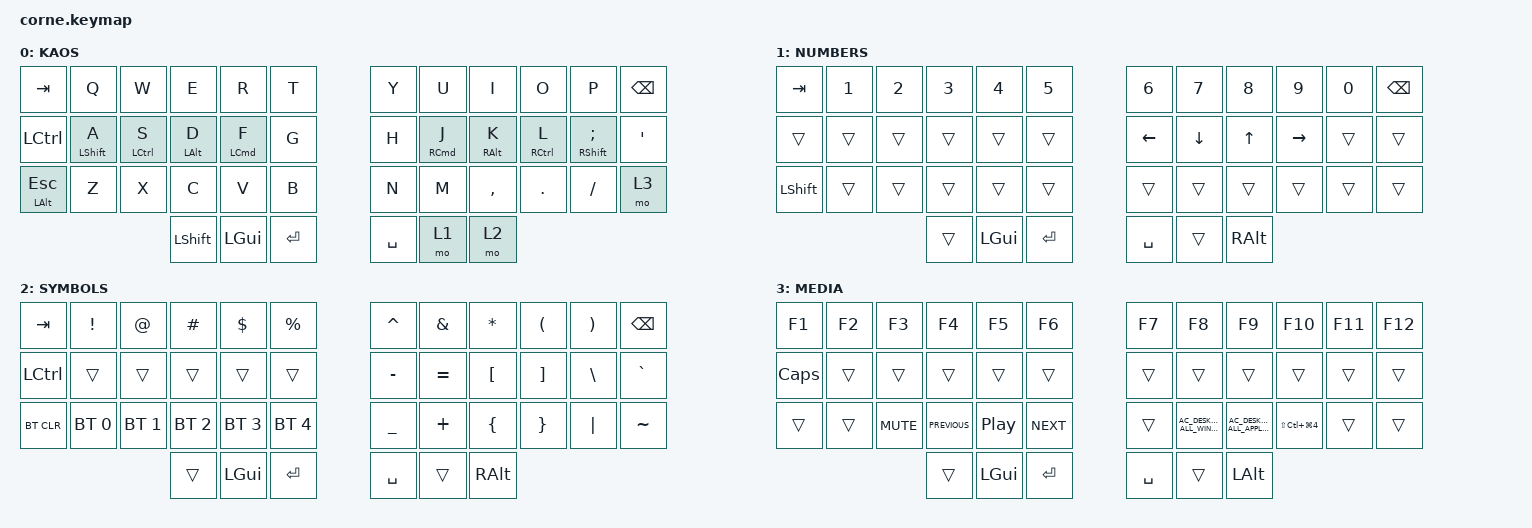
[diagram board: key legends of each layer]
/*
 * Copyright (c) 2020 The ZMK Contributors
 *
 * SPDX-License-Identifier: MIT
 */

#include <behaviors.dtsi>
#include <dt-bindings/zmk/bt.h>
#include <dt-bindings/zmk/keys.h>

/ {
    behaviors {
        hmr: hmr {
            compatible = "zmk,behavior-hold-tap";
            label = "HMR";
            bindings = <&kp>, <&kp>;

            #binding-cells = <2>;
            tapping-term-ms = <280>;
            quick-tap-ms = <175>;
            flavor = "balanced";
            hold-trigger-on-release;
            hold-trigger-key-positions = <0 1 2 3 4 5 17 38 37 29 36 28 16 15 27 26 14 13 24 12 25 39 40 41>;
        };

        hml: hml {
            compatible = "zmk,behavior-hold-tap";
            label = "HML";
            bindings = <&kp>, <&kp>;

            #binding-cells = <2>;
            tapping-term-ms = <280>;
            quick-tap-ms = <175>;
            require-prior-idle-ms = <50>;
            flavor = "balanced";
            hold-trigger-on-release;
            hold-trigger-key-positions = <6 7 8 9 10 11 18 19 20 21 22 23 30 31 32 33 34 35 39 40 41 36 37 38>;
        };
    };

    combos {
        compatible = "zmk,combos";

        left-brace {
            bindings = <&kp LEFT_BRACE>;
            key-positions = <1 2>;
            layers = <0>;
        };

        right-brace {
            bindings = <&kp RIGHT_BRACE>;
            key-positions = <9 10>;
            layers = <0>;
        };

        left-bracket {
            bindings = <&kp LEFT_BRACKET>;
            key-positions = <3 2>;
            layers = <0>;
        };

        right-bracket {
            bindings = <&kp RIGHT_BRACKET>;
            key-positions = <9 8>;
            layers = <0>;
        };

        left-parens {
            bindings = <&kp LEFT_PARENTHESIS>;
            key-positions = <3 4>;
            layers = <0>;
        };

        right-parens {
            bindings = <&kp RIGHT_PARENTHESIS>;
            key-positions = <7 8>;
            layers = <0>;
        };

        underscore {
            bindings = <&kp UNDERSCORE>;
            key-positions = <26 27>;
            layers = <0>;
        };

        minus {
            bindings = <&kp MINUS>;
            key-positions = <28 27>;
            layers = <0>;
        };

        plus {
            bindings = <&kp PLUS>;
            key-positions = <31 32>;
            layers = <0>;
        };

        equal {
            bindings = <&kp EQUAL>;
            key-positions = <33 32>;
            layers = <0>;
        };

        lt {
            bindings = <&kp LT>;
            key-positions = <25 26>;
        };

        gt {
            bindings = <&kp GT>;
            key-positions = <34 33>;
        };
    };

    keymap {
        compatible = "zmk,keymap";

        kaos {
            // -----------------------------------------------------------------------------------------
            // |  TAB |  Q  |  W  |  E  |  R  |  T  |   |  Y  |  U   |  I  |  O  |  P  | BKSP |
            // | CTRL |  A  |  S  |  D  |  F  |  G  |   |  H  |  J   |  K  |  L  |  ;  |  '   |
            // | SHFT |  Z  |  X  |  C  |  V  |  B  |   |  N  |  M   |  ,  |  .  |  /  | ESC  |
            //                    | GUI | LWR | SPC |   | ENT | RSE  | ALT |

            bindings = <
&kp TAB               &kp Q              &kp W         &kp E            &kp R        &kp T        &kp Y      &kp U        &kp I             &kp O         &kp P                  &kp BSPC
&kp LCTRL             &hmr LEFT_SHIFT A  &hmr LCTRL S  &hmr LEFT_ALT D  &hmr LCMD F  &kp G        &kp H      &hml RCMD J  &hml RIGHT_ALT K  &hml RCTRL L  &hml RIGHT_SHIFT SEMI  &kp SQT
&hmr LEFT_ALT ESCAPE  &kp Z              &kp X         &kp C            &kp V        &kp B        &kp N      &kp M        &kp COMMA         &kp DOT       &kp FSLH               &mo 3
                                                       &kp LEFT_SHIFT   &kp LGUI     &kp ENTER    &kp SPACE  &mo 1        &mo 2
            >;

            label = "KAOS";
        };

        numbers {
            // -----------------------------------------------------------------------------------------
            // |  TAB |  1  |  2  |  3  |  4  |  5  |   |  6  |  7  |  8  |  9  |  0  | BKSP |
            // | BTCLR| BT1 | BT2 | BT3 | BT4 | BT5 |   | LFT | DWN |  UP | RGT |     |      |
            // | SHFT |     |     |     |     |     |   |     |     |     |     |     |      |
            //                    | GUI |     | SPC |   | ENT |     | ALT |

            bindings = <
&kp TAB    &kp N1  &kp N2  &kp N3  &kp N4    &kp N5       &kp N6     &kp N7    &kp N8    &kp N9     &kp N0  &kp BSPC
&trans     &trans  &trans  &trans  &trans    &trans       &kp LEFT   &kp DOWN  &kp UP    &kp RIGHT  &trans  &trans
&kp LSHFT  &trans  &trans  &trans  &trans    &trans       &trans     &trans    &trans    &trans     &trans  &trans
                           &trans  &kp LGUI  &kp ENTER    &kp SPACE  &trans    &kp RALT
            >;

            label = "NUMBERS";
        };

        symbols {
            // -----------------------------------------------------------------------------------------
            // |  TAB |  !  |  @  |  #  |  $  |  %  |   |  ^  |  &  |  *  |  (  |  )  | BKSP |
            // | CTRL |     |     |     |     |     |   |  -  |  =  |  [  |  ]  |  \  |  `   |
            // | SHFT |     |     |     |     |     |   |  _  |  +  |  {  |  }  | "|" |  ~   |
            //                    | GUI |     | SPC |   | ENT |     | ALT |

            bindings = <
&kp TAB     &kp EXCL      &kp AT        &kp HASH      &kp DLLR      &kp PRCNT       &kp CARET  &kp AMPS   &kp ASTRK  &kp LPAR  &kp RPAR  &kp BSPC
&kp LCTRL   &trans        &trans        &trans        &trans        &trans          &kp MINUS  &kp EQUAL  &kp LBKT   &kp RBKT  &kp BSLH  &kp GRAVE
&bt BT_CLR  &bt BT_SEL 0  &bt BT_SEL 1  &bt BT_SEL 2  &bt BT_SEL 3  &bt BT_SEL 4    &kp UNDER  &kp PLUS   &kp LBRC   &kp RBRC  &kp PIPE  &kp TILDE
                                        &trans        &kp LGUI      &kp ENTER       &kp SPACE  &trans     &kp RALT
            >;

            label = "SYMBOLS";
        };

        media {
            bindings = <
&kp F1    &kp F2  &kp F3      &kp F4          &kp F5    &kp F6        &kp F7     &kp F8                             &kp F9                                  &kp F10                   &kp F11  &kp F12
&kp CAPS  &trans  &trans      &trans          &trans    &trans        &trans     &trans                             &trans                                  &trans                    &trans   &trans
&trans    &trans  &kp C_MUTE  &kp C_PREVIOUS  &kp C_PP  &kp C_NEXT    &trans     &kp C_AC_DESKTOP_SHOW_ALL_WINDOWS  &kp C_AC_DESKTOP_SHOW_ALL_APPLICATIONS  &kp LS(LC(LG(NUMBER_4)))  &trans   &trans
                              &trans          &kp LGUI  &kp ENTER     &kp SPACE  &trans                             &kp LEFT_ALT
            >;

            label = "MEDIA";
        };
    };
};
